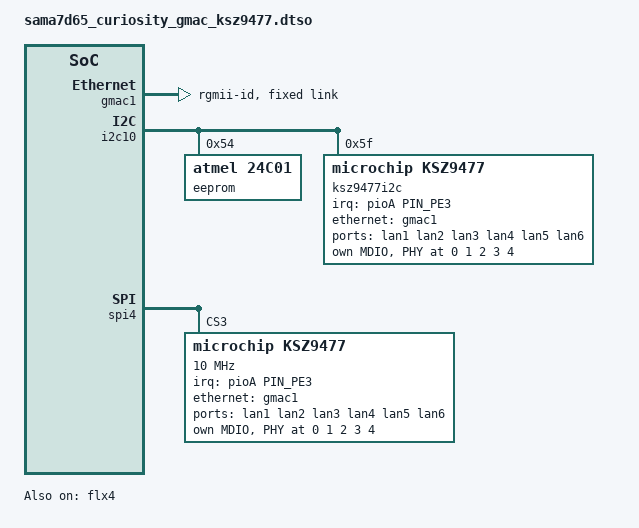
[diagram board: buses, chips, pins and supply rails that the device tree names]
// SPDX-License-Identifier: (GPL-2.0+ OR MIT)
/*
 *  Device Tree overlay for SAMA7D65-CURIOSITY board
 *  in order to use the KSZ9477-EDS2 daughter card.
 *
 *  Copyright (c) 2025 Microchip Technology Inc. and its subsidiaries
 *
 *  Author: Jerry Ray <jerry.ray@microchip.com>
 *
 * Refer to the EV30S09A (KSZ9477-EDS2 daughter card)
 *
 */
/dts-v1/;
/plugin/;
#include "sama7d65-pinfunc.h"
#include <dt-bindings/mfd/atmel-flexcom.h>
#include <dt-bindings/clock/at91.h>
#include <dt-bindings/pinctrl/at91.h>
#include <dt-bindings/gpio/gpio.h>
#include <dt-bindings/interrupt-controller/irq.h>

&{/}
{
	model = "Microchip SAMA7D65 Curiosity KSZ9477 Gigabit Switch";
};

&flx4 {
	atmel,flexcom-mode = <ATMEL_FLEXCOM_MODE_SPI>;
	status = "okay";
};

&gmac0 {
	status = "disabled";
};

&gmac1 {
	phy-mode = "rgmii-id";
	status = "okay";

	fixed-link {
		speed = <1000>;
		full-duplex;
		pause;
	};

	ethernet-phy@1 {
		status = "disabled";
	};
};

&i2c10 {
	#address-cells = <1>;
	#size-cells = <0>;
	dmas = <0>, <0>;
	status = "okay";

	eeprom@54 {
		compatible = "atmel,24c01";
		reg = <0x54>;
		pagesize = <8>;
		status = "okay";
	};

	ksz9477i2c: ksz9477i-switch@5f {
		compatible = "microchip,ksz9477";
		reg = <0x5f>;
		interrupt-parent = <&pioA>;
		interrupts = <PIN_PE3 IRQ_TYPE_LEVEL_LOW>;
		status = "okay";

		ports {
			#address-cells = <1>;
			#size-cells = <0>;
			port@0 {
				reg = <0>;
				label = "lan1";
				phy-handle = <&swphy_0>;
			};
			port@1 {
				reg = <1>;
				label = "lan2";
				phy-handle = <&swphy_1>;
			};
			port@2 {
				reg = <2>;
				label = "lan3";
				phy-handle = <&swphy_2>;
			};
			port@3 {
				reg = <3>;
				label = "lan4";
				phy-handle = <&swphy_3>;
			};
			port@4 {
				reg = <4>;
				label = "lan5";
				phy-handle = <&swphy_4>;
			};
			port@5 {
				reg = <5>;
				phy-mode = "rgmii-id";
				rx-internal-delay-ps = <2000>;
				tx-internal-delay-ps = <2000>;
				ethernet = <&gmac1>;
				fixed-link {
					speed = <1000>;
					full-duplex;
					pause;
				};
			};
			port@6 {
				reg = <6>;
				label = "lan6";
				phy-mode = "sgmii";
				fixed-link {
					speed = <1000>;
					full-dulpex;
				};
			};
		};
		mdio {
			#address-cells = <1>;
			#size-cells = <0>;
			swphy_0: ethernet-phy@0 {
				reg = <0>;
				eee-broken-100tx;
				eee-broken-1000t;
			};
			swphy_1: ethernet-phy@1 {
				reg = <1>;
				eee-broken-100tx;
				eee-broken-1000t;
			};
			swphy_2: ethernet-phy@2 {
				reg = <2>;
				eee-broken-100tx;
				eee-broken-1000t;
			};
			swphy_3: ethernet-phy@3 {
				reg = <3>;
				eee-broken-100tx;
				eee-broken-1000t;
			};
			swphy_4: ethernet-phy@4 {
				reg = <4>;
				eee-broken-100tx;
				eee-broken-1000t;
			};
		};
	};
};

&pioA {
	pinctrl_spi4_default: spi4-default{
		pinmux = <PIN_PA18__FLEXCOM4_IO0>,	/* MOSI */
			 <PIN_PA17__FLEXCOM4_IO1>,	/* MISO */
			 <PIN_PA16__FLEXCOM4_IO2>,	/* SPCK */
			 <PIN_PA15__FLEXCOM4_IO3>,	/* CS0 */
			 <PIN_PA14__FLEXCOM4_IO4>,	/* CS1 */
			 <PIN_PA19__FLEXCOM4_IO5>,	/* CS2 */
			 <PIN_PA20__FLEXCOM4_IO6>;	/* CS3 */
		bias-disable;
	};
};

&spi4 {
	#address-cells = <1>;
	#size-cells = <0>;
	pinctrl-names = "default";
	pinctrl-0 = <&pinctrl_spi4_default>;
	status = "okay";

	ksz9477: ksz9477@3 {
		compatible = "microchip,ksz9477";
		reg = <3>;
		interrupt-parent = <&pioA>;
		interrupts = <PIN_PE3 IRQ_TYPE_LEVEL_LOW>;
		spi-max-frequency = <10000000>;		/* 10MHz until proven */
		spi-cpha;
		spi-cpol;
		status = "okay";

		ports {
			#address-cells = <1>;
			#size-cells = <0>;
			port@0 {
				reg = <0>;
				label = "lan1";
				phy-handle = <&swphy0>;
			};
			port@1 {
				reg = <1>;
				label = "lan2";
				phy-handle = <&swphy1>;
			};
			port@2 {
				reg = <2>;
				label = "lan3";
				phy-handle = <&swphy2>;
			};
			port@3 {
				reg = <3>;
				label = "lan4";
				phy-handle = <&swphy3>;
			};
			port@4 {
				reg = <4>;
				label = "lan5";
				phy-handle = <&swphy4>;
			};
			port@5 {
				reg = <5>;
				phy-mode = "rgmii-id";
				rx-internal-delay-ps = <2000>;
				tx-internal-delay-ps = <2000>;
				ethernet = <&gmac1>;
				fixed-link {
					speed = <1000>;
					full-duplex;
					pause;
				};
			};
			port@6 {
				reg = <6>;
				label = "lan6";
				phy-mode = "sgmii";
				fixed-link {
					speed = <1000>;
					full-duplex;
				};
			};
		};
		mdio {
			#address-cells = <1>;
			#size-cells = <0>;
			swphy0: ethernet-phy@0 {
				reg = <0>;
				eee-broken-100tx;
				eee-broken-1000t;
			};
			swphy1: ethernet-phy@1 {
				reg = <1>;
				eee-broken-100tx;
				eee-broken-1000t;
			};
			swphy2: ethernet-phy@2 {
				reg = <2>;
				eee-broken-100tx;
				eee-broken-1000t;
			};
			swphy3: ethernet-phy@3 {
				reg = <3>;
				eee-broken-100tx;
				eee-broken-1000t;
			};
			swphy4: ethernet-phy@4 {
				reg = <4>;
				eee-broken-100tx;
				eee-broken-1000t;
			};
		};
	};
};
